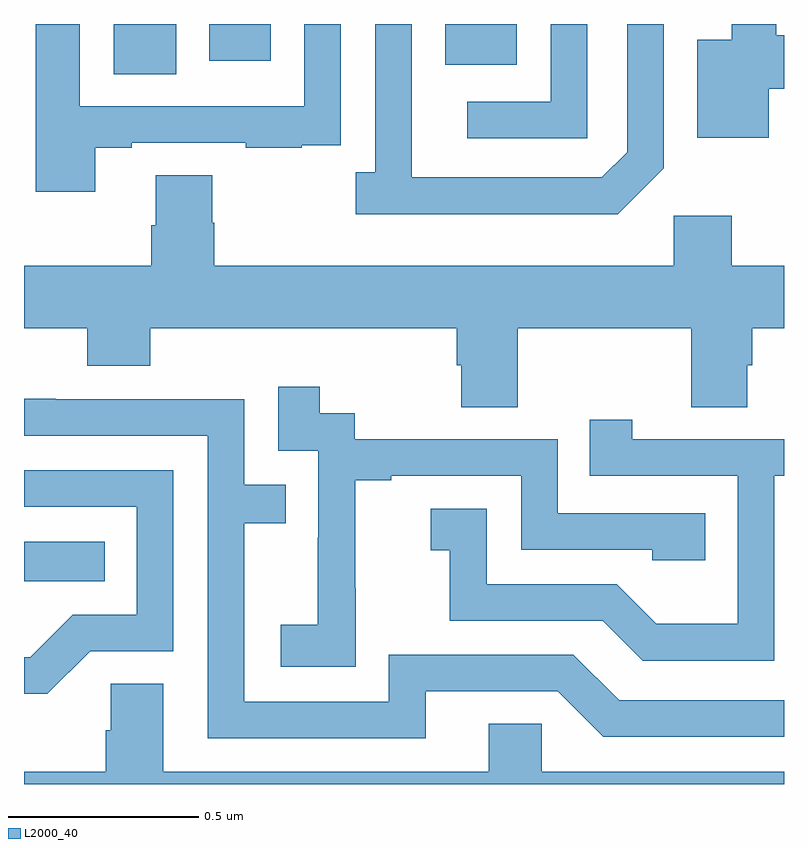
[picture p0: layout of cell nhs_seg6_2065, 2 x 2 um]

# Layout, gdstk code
import gdstk
lib = gdstk.Library(unit=1e-6, precision=1e-09)
def R(c, l, rs):  # rectangles x0, y0, x1, y1
    for r in rs: c.add(gdstk.rectangle(r[:2], r[2:], *l))
def P(c, l, *ps):  # polygons
    for p in ps: c.add(gdstk.Polygon(p, *l))
L2000_40 = (2000, 40)

nhs_seg6_2065 = lib.new_cell('nhs_seg6_2065')
R(nhs_seg6_2065, L2000_40, [(138,916.034,138.212,916.138), (138.236,917.368,138.4,917.5), (139.109,917.393,139.297,917.5), (138.488,917.403,138.649,917.5)])
P(nhs_seg6_2065, L2000_40, [(139.96,917.329),(140,917.329),(140,917.471),(139.979,917.471),(139.979,917.5),(139.862,917.5),(139.862,917.458),(139.772,917.458),(139.772,917.201),(139.96,917.201)],
  [(139.482,917.5),(139.386,917.5),(139.386,917.295),(139.167,917.295),(139.167,917.199),(139.482,917.199)],
  [(138.187,917.175),(138.283,917.175),(138.283,917.187),(138.583,917.187),(138.583,917.175),(138.731,917.175),(138.731,917.181),(138.833,917.181),(138.833,917.29),(138.834,917.29),(138.834,917.5),(138.738,917.5),(138.738,917.283),(138.147,917.283),(138.147,917.5),(138.031,917.5),(138.031,917.058),(138.187,917.058)],
  [(139.683,917.121),(139.683,917.5),(139.587,917.5),(139.587,917.163),(139.521,917.097),(139.021,917.097),(139.021,917.297),(139.02,917.297),(139.02,917.5),(138.924,917.5),(138.924,917.11),(138.873,917.11),(138.873,917),(139.562,917)],
  [(139.299,916.7),(139.756,916.7),(139.756,916.492),(139.903,916.492),(139.903,916.602),(139.916,916.602),(139.916,916.7),(140,916.7),(140,916.864),(139.862,916.864),(139.862,916.996),(139.71,916.996),(139.71,916.864),(138.5,916.864),(138.5,916.977),(138.495,916.977),(138.495,917.102),(138.347,917.102),(138.347,916.97),(138.335,916.97),(138.335,916.864),(138,916.864),(138,916.7),(138.167,916.7),(138.167,916.601),(138.332,916.601),(138.332,916.7),(139.139,916.7),(139.139,916.602),(139.151,916.602),(139.151,916.492),(139.299,916.492)],
  [(138.873,916.015),(138.872,916.015),(138.872,916.299),(138.967,916.299),(138.967,916.311),(139.308,916.311),(139.308,916.116),(139.653,916.116),(139.653,916.089),(139.793,916.089),(139.793,916.212),(139.404,916.212),(139.404,916.407),(138.87,916.407),(138.87,916.476),(138.778,916.476),(138.778,916.546),(138.669,916.546),(138.669,916.377),(138.774,916.377),(138.774,916.148),(138.773,916.148),(138.773,915.919),(138.675,915.919),(138.675,915.809),(138.873,915.809)],
  [(139.057,915.744),(139.404,915.744),(139.524,915.624),(140,915.624),(140,915.72),(139.566,915.72),(139.446,915.84),(138.96,915.84),(138.96,915.717),(138.579,915.717),(138.579,916.186),(138.689,916.186),(138.689,916.287),(138.579,916.287),(138.579,916.512),(138.083,916.512),(138.083,916.514),(138,916.514),(138,916.416),(138.483,916.416),(138.483,915.621),(139.057,915.621)],
  [(139.974,916.311),(140,916.311),(140,916.407),(139.6,916.407),(139.6,916.459),(139.489,916.459),(139.489,916.311),(139.878,916.311),(139.878,915.922),(139.664,915.922),(139.56,916.026),(139.218,916.026),(139.218,916.225),(139.071,916.225),(139.071,916.115),(139.12,916.115),(139.12,915.93),(139.523,915.93),(139.628,915.825),(139.974,915.825)],
  [(138.174,915.849),(138.393,915.849),(138.393,916.326),(138,916.326),(138,916.23),(138.297,916.23),(138.297,915.945),(138.128,915.945),(138.017,915.834),(138,915.834),(138,915.737),(138.061,915.737)],
  [(140,915.532),(139.362,915.532),(139.362,915.659),(139.223,915.659),(139.223,915.532),(138.367,915.532),(138.367,915.764),(138.228,915.764),(138.228,915.641),(138.215,915.641),(138.215,915.532),(138,915.532),(138,915.5),(140,915.5)])

lib.write_gds('nhs_seg6_2065.gds')
